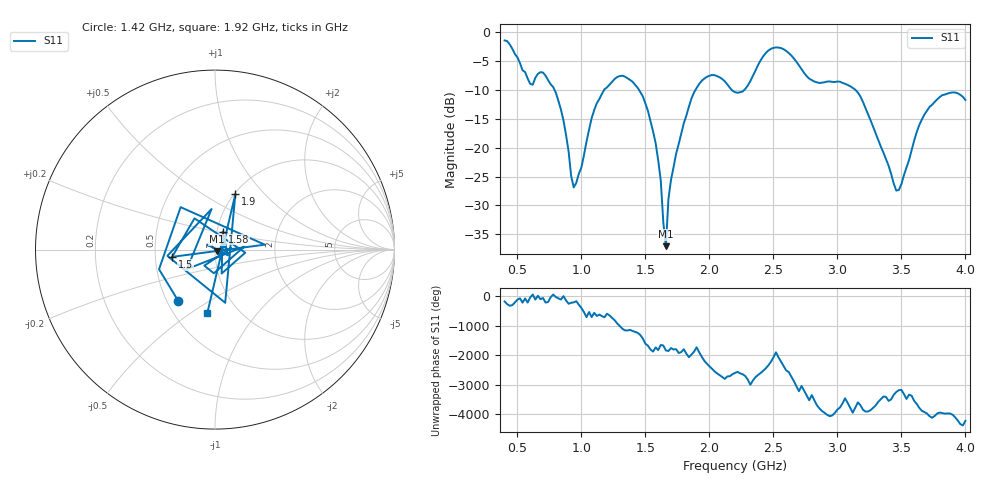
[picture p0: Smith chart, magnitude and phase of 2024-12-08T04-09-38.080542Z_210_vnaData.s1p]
!Created with skrf (http://scikit-rf.org).
# Hz S RI R 50.0
!freq ReS11 ImS11
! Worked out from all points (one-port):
!   181 points, 400 MHz to 4 GHz, reference 50 ohm
!   lowest |S11| = -37.1 dB at 1.66 GHz (marker M1), VSWR 1.03, Z = 51.1 - j0.87 ohm
!   |S11| at or under -10 dB: 790.8 MHz to 1.176 GHz (385.7 MHz wide, 39.2 % of centre); 1.451 GHz to 1.891 GHz (439.8 MHz wide, 26.3 % of centre); 3.143 GHz to end of sweep (the widest 3 of 4)
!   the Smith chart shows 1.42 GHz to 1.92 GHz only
!   S11 on the Smith chart (normalised r, x): 1.42 GHz: 0.57, -0.37; 1.5 GHz: 0.61, -0.05; 1.58 GHz: 1.07, +0.22; 1.9 GHz: 1.01, +0.70; 1.92 GHz: 0.72, -0.58
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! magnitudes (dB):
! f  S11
! 400 MHz  -1.4
! 600 MHz  -8.9
! 720 MHz  -7.5
! 860 MHz  -15.3
! 940 MHz  -26.9
! 1.12 GHz  -12.3
! 1.3 GHz  -7.6
! 1.42 GHz  -9.1
! 1.5 GHz  -12.3
! 1.58 GHz  -19.2
! 1.62 GHz  -25.7
! 1.66 GHz  -37.1
! 1.68 GHz  -28.9
! 1.76 GHz  -19.4
! 1.9 GHz  -9.6
! 1.92 GHz  -8.9
! 2.04 GHz  -7.4
! 2.2 GHz  -10.4
! 2.48 GHz  -2.9
! 2.66 GHz  -4.5
! 2.82 GHz  -8.5
! 3.1 GHz  -9.3
! 3.2 GHz  -12.1
! 3.46 GHz  -27.4
! 3.56 GHz  -22.1
! 3.72 GHz  -12.9
! 3.88 GHz  -10.5
! 4 GHz  -11.7
